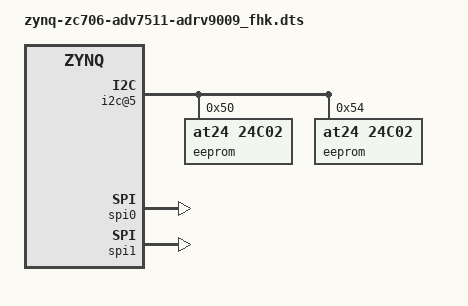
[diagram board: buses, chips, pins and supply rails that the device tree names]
/* 
Author	: Jacky.Wang <kenwj@sina.com>
NOTICE	:
   clocks : means "clocks_input" actually
   clock-names : the name is "aligned" with the corresponding driver
interrupts of zynq7k:
  PL to PS Interrupts:
    IRQF2P[ 7: 0] input, SPI: Numbers [68:61].
    IRQF2P[15: 8] input, SPI: Numbers [91:84].
    IRQF2P[19:16] input, PPI: nFIQ, nIRQ (both CPUs).
  PS to PL Interrupts:
    IRQP2F[27: 0] Output, I/O peripherals received and forwarded to the interrupt controller.

History	:
  base: branch "adrv9009_zc706", "arch\arm\boot\dts\zynq-zc706-adv7511-adrv9009.dts"
  change: clock-tree/interrupts per FHK-RFB (1*AD9528+2*AD9009)
  reference: https://ez.analog.com/wide-band-rf-transceivers/
    design-support-adrv9008-1-adrv9008-2-adrv9009/f/discussions/
    100583/adrv9009-custom-profile/300558
  change: Xilinx DPD integration, FHK DMA datapath verification
*/

/dts-v1/;

#if 0	/* Xilinx-ZC706 Board Design slight adjusted by FHK */
#include "zynq-zc706_fhk.dtsi"
#include "zynq-zc706-adv7511_fhk.dtsi"
#else	/* FHK-DFB New Board Design based on Xilinx-ZC706 */
#include "zynq-zc706_fhk_dfb.dtsi"
#include "zynq-zc706-adv7511_fhk_dfb.dtsi"
#endif
#include "zynq-zc706-xge_fhk.dtsi"
#include "zynq-zc706-dfe_fhk.dtsi"

#define AD9009N1_ENABLE 1
#define AD9009N2_ENABLE 1

&i2c_mux {
	i2c@5 { /* HPC IIC */
		#address-cells = <1>;
		#size-cells = <0>;
		reg = <5>;

		eeprom@50 {
			compatible = "at24,24c02";
			reg = <0x50>;
		};

		eeprom@54 {
			compatible = "at24,24c02";
			reg = <0x54>;
		};

		/*ad7291@2f {
			compatible = "adi,ad7291";
			reg = <0x2f>;
		};*/
	};
};

#if AD9009N1_ENABLE
&fpga_axi {
	/* 0 (AXI_DMAC_TYPE_AXI_MM): Memory mapped AXI interface
	   1 (AXI_DMAC_TYPE_AXI_STREAM): Streaming AXI interface
	   2 (AXI_DMAC_TYPE_AXI_FIFO): FIFO interface */
	iiorx_dma: iiorx-dmac@7c400000 {
		compatible = "adi,axi-dmac-1.00.a";
		reg = <0x7c400000 0x10000>;
		#dma-cells = <1>;
		interrupts = <0 57 0>; //UG585, Table 7-4: IRQF2P[13] -> IRQ[89-32]
		clocks = <&clkc 15>; // 15/fclk0=100MHz <- 17/fclk2=250MHz
		//clocks = <&clkc 15>, <&clkc 17>, <&misc_clk_0>;
		//clock-names = "s_axi_aclk", "m_dest_axi_aclk", "fifo_wr_clk";

		adi,channels {
			#size-cells = <0>;
			#address-cells = <1>;

			dma-channel@0 {
				reg = <0>;
				adi,source-bus-width = <64>;
				adi,source-bus-type = <2>;
				adi,destination-bus-width = <64>;
				adi,destination-bus-type = <0>;
			};
		};
	};

	iioro_dma: iioro-dmac@7c440000  {
		compatible = "adi,axi-dmac-1.00.a";
		reg = <0x7c440000  0x10000>;
		#dma-cells = <1>;
		interrupts = <0 55 0>; //UG585, Table 7-4: IRQF2P[11] -> IRQ[87-32]
		clocks = <&clkc 15>; // 15/fclk0=100MHz <- 17/fclk2=250MHz
		//clocks = <&clkc 15>, <&clkc 17>, <&misc_clk_0>;
		//clock-names = "s_axi_aclk", "m_dest_axi_aclk", "fifo_wr_clk";

		adi,channels {
			#size-cells = <0>;
			#address-cells = <1>;

			dma-channel@0 {
				reg = <0>;
				adi,source-bus-width = <128>;// TODO: master for 122profile: 128
				adi,source-bus-type = <2>;
				adi,destination-bus-width = <64>;
				adi,destination-bus-type = <0>;
			};
		};
	};

	iiotx_dma: iiotx-dmac@7c420000 {
		compatible = "adi,axi-dmac-1.00.a";
		reg = <0x7c420000 0x10000>;
		#dma-cells = <1>;
		interrupts = <0 56 0>; //UG585, Table 7-4: IRQF2P[12] -> IRQ[88-32]
		clocks = <&clkc 15>; // 15/fclk0=100MHz <- 17/fclk2=250MHz
		//clocks = <&clkc 15>, <&clkc 17>, <&clkc 17>;
		//clock-names = "s_axi_aclk", "m_src_axi_aclk", "m_axis_aclk";

		adi,channels {
			#size-cells = <0>;
			#address-cells = <1>;

			dma-channel@0 {
				reg = <0>;
				adi,source-bus-width = <128>;
				adi,source-bus-type = <0>;
				adi,destination-bus-width = <128>;
				adi,destination-bus-type = <2>;
				//adi,cyclic;
			};
		};
	};

	/* name for libiio-GUI(i.e. IIO-OSC) and libiio-apps(e.g.iio_stream.arm) */
	jesd204rx_layer3: jesd204rx-layer3@44a00000 {
		compatible = "adi,axi-adrv9009-rx-1.0";
		reg = <0x44a00000 0x8000>;
		dmas = <&iiorx_dma 0>;
		dma-names = "rx";
		spibus-connected = <&trx0_adrv9009>;
		//adi,axi-pl-fifo-enable;/* "iio-stream" fail/succeed when true/false */
	};
	jesd204ro_layer3: jesd204ro-layer3@44a08000 {
		compatible = "adi,axi-adrv9009-obs-1.0";
		reg = <0x44a08000 0x1000>;
		dmas = <&iioro_dma 0>;
		dma-names = "rx";
		clocks = <&trx0_adrv9009 1>;
		clock-names = "sampl_clk";
	};
	jesd204tx_layer3: jesd204tx-layer3@44a04000 {
		compatible = "adi,axi-adrv9009-tx-1.0";
		reg = <0x44a04000 0x4000>;
		dmas = <&iiotx_dma 0>;
		dma-names = "tx";
		clocks = <&trx0_adrv9009 2>;
		clock-names = "sampl_clk";
		spibus-connected = <&trx0_adrv9009>;
		//adi,axi-pl-fifo-enable;/* "iio-stream" fail/succeed when true/false */

		//adi,axi-dds-parity-enable; bool
		//adi,axi-dds-parity-type-odd; bool
		//adi,axi-dds-1-rf-channel; bool
		adi,axi-dds-default-scale = <0x1000>;/* 0.250 */
		adi,axi-dds-default-frequency = <40000000>;
		//adi,axi-interpolation-core-available; bool
		//slavecore-reg; <u32_array>
	};

	jesd204rx_layer2: axi-jesd204-rx@44aa0000 {
		compatible = "adi,axi-jesd204-rx-1.0";
		reg = <0x44aa0000 0x1000>;

		interrupts = <0 54 0>; //UG585, Table 7-4: IRQF2P[10] -> IRQ[86-32]

		clocks = <&clkc 15>, <&jesd204rx_clkgen>, <&jesd204rx_layer1 0>;
		clock-names = "s_axi_aclk", "device_clk", "lane_clk";

		#clock-cells = <0>;
		clock-output-names = "jesd_rx_lane_clk";

		//RX_PATH: *FPGA.JESD204B-DeframerA -> PHY.JESD204B-FramerA
		//Figure 34. JESD204B Framer Configuration (M = 4, L = 2, S = 1)
		//adi,bits-per-sample = <16>;//N'=16; PHY-Framer decide
		//adi,converters-per-device = <4>;//M=4; PHY-Framer decide
		//L(Number of Lanes)=2; PHY-Framer decide
		//S(Number of Samples)=1; PHY-Framer decide(1,2,4)
		adi,octets-per-frame = <4>;//F=N'/8*M*S/L =(16/8)*4*1/2=4
		adi,frames-per-multiframe = <32>;
	};

	jesd204tx_layer2: axi-jesd204-tx@44a90000 {
		compatible = "adi,axi-jesd204-tx-1.0";
		reg = <0x44a90000 0x1000>;

		interrupts = <0 53 0>; //UG585, Table 7-4: IRQF2P[9] -> IRQ[85-32]

		clocks = <&clkc 15>, <&jesd204tx_clkgen>, <&jesd204tx_layer1 0>;
		clock-names = "s_axi_aclk", "device_clk", "lane_clk";

		#clock-cells = <0>;
		clock-output-names = "jesd_tx_lane_clk";

		//TX_PATH: *FPGA.JESD204B-FramerA -> PHY.JESD204B-DeframerA
		//L(Number of Lanes)=4; PHY-Deframer decide
		//S(Number of Samples)=1; PHY-Deframer decide(1-only)
		//Figure 36. JESD204B Framer Configuration (M = 4, L = 4, S = 1)
		adi,octets-per-frame = <2>;//F=N'/8*M*S/L =(16/8)*4*1/4=2
		adi,frames-per-multiframe = <32>;
		adi,converter-resolution = <16>;// 20190314: different from 14/zynqmp-zcu102-rev10-adrv9009.dts
		adi,bits-per-sample = <16>;//N'=16; PHY-Deframer decide
		adi,converters-per-device = <4>;//M=4; PHY-Deframer decide
		adi,control-bits-per-sample = <0>;// 20190314: different from 2/zynqmp-zcu102-rev10-adrv9009.dts
	};

	jesd204ro_layer2: axi-jesd204-ro@44ab0000 {
		compatible = "adi,axi-jesd204-rx-1.0";
		reg = <0x44ab0000 0x1000>;

		interrupts = <0 52 0>; //UG585, Table 7-4: IRQF2P[8] -> IRQ[84-32]

		clocks = <&clkc 15>, <&jesd204ro_clkgen>, <&jesd204ro_layer1 0>;
		clock-names = "s_axi_aclk", "device_clk", "lane_clk";

		#clock-cells = <0>;
		clock-output-names = "jesd_rx_os_lane_clk";

		//RO_PATH: *FPGA.JESD204B-DeframerB -> PHY.JESD204B-FramerB
		//option1: HW keep ORx1&2 setting(Figure 27. JESD204B Framer Configuration (M = 4, L = 2, S = 1)) but SW enable ORx2-only
		//option2: HW change into (Figure 13. Framer Data Packing for (M = 2, L = 1, S = 1))
		//stitching mode must setting with (M = 2, L = 2, logically), (M = 4, L = 2 physically)
		//adi,bits-per-sample = <16>;//N'=16; PHY-Framer decide
		//adi,converters-per-device = <2>;//PHY-Framer decide; must be 2 logically if ORX_rfbandwidth>200MHz
		//L(Number of Lanes)=2; PHY-Framer decide
		//S(Number of Samples)=1; PHY-Framer decide(1,2,or4)
		//F=N'/8*M*S/L: case1/orx-stitching=(16/8)*2*1/2=2; case2/orx-2chn=(16/8)*4*1/2=4;
		adi,octets-per-frame = <4>;
		adi,frames-per-multiframe = <32>;
	};

	jesd204tx_clkgen: axi-clkgen-tx@43c00000  {
		compatible = "adi,axi-clkgen-2.00.a";
		reg = <0x43c00000 0x10000>;
		#clock-cells = <0>;
		clocks = <&clk0_ad9528 8>;
		clock-output-names = "axi_tx_clkgen";
	};

	jesd204rx_clkgen: axi-clkgen-rx@43c10000  {
		compatible = "adi,axi-clkgen-2.00.a";
		reg = <0x43c10000 0x10000>;
		#clock-cells = <0>;
		clocks = <&clk0_ad9528 8>;
		clock-output-names = "axi_rx_clkgen";
	};

	jesd204ro_clkgen: axi-clkgen-ro@43c20000  {
		compatible = "adi,axi-clkgen-2.00.a";
		reg = <0x43c20000 0x10000>;
		#clock-cells = <0>;
		clocks = <&clk0_ad9528 8>;
		clock-output-names = "axi_rx_os_clkgen";
	};

	jesd204rx_layer1: axi-adxcvr-rx@44a60000 {
		#address-cells = <1>;
		#size-cells = <0>;
		compatible = "adi,axi-adxcvr-1.0";
		reg = <0x44a60000 0x1000>;

		clocks = <&clk0_ad9528 8>, <&jesd204rx_clkgen 0>;
		clock-names = "conv", "div40";

		#clock-cells = <1>;
		clock-output-names = "rx_gt_clk", "rx_out_clk";

		adi,sys-clk-select = <3>;//0->3: 20190320: using the shared QPLL(by Tx/Rx/ORx)
		adi,out-clk-select = <3>;
		adi,use-lpm-enable;
		//adi,use-cpll-enable;//20190320: using the shared QPLL(by Tx/Rx/ORx)
	};

	jesd204ro_layer1: axi-adxcvr-ro@44a50000 {
		#address-cells = <1>;
		#size-cells = <0>;
		compatible = "adi,axi-adxcvr-1.0";
		reg = <0x44a50000 0x1000>;

		clocks = <&clk0_ad9528 8>, <&jesd204ro_clkgen>;
		clock-names = "conv", "div40";

		#clock-cells = <1>;
		clock-output-names = "rx_os_gt_clk", "rx_os_out_clk";

		adi,sys-clk-select = <3>;//0->3: 20190320: using the shared QPLL(by Tx/Rx/ORx)
		adi,out-clk-select = <3>;
		adi,use-lpm-enable;
		//adi,use-cpll-enable;//20190320: using the shared QPLL(by Tx/Rx/ORx)
	};

	jesd204tx_layer1: axi-adxcvr-tx@44a80000 {
		#address-cells = <1>;
		#size-cells = <0>;
		compatible = "adi,axi-adxcvr-1.0";
		reg = <0x44a80000 0x1000>;

		clocks = <&clk0_ad9528 8>, <&jesd204tx_clkgen>;
		clock-names = "conv", "div40";

		#clock-cells = <1>;
		clock-output-names = "tx_gt_clk", "tx_out_clk";

		adi,sys-clk-select = <3>;// using QPLL for Tx, QPLL+CPLL for Rx/ORx
		adi,out-clk-select = <3>;
	};
};
#endif

&spi0 {
	status = "okay";
};

#define fmc_spi spi0

#if AD9009N1_ENABLE
#if 1 /* 122.88M-SPS: using QPLL for Tx, QPLL+CPLL for Rx/ORx */
#include "adi-adrv9009_fhk122dc122.dtsi"
	&jesd204rx_layer1 {
		adi,sys-clk-select = <0>;
		adi,use-cpll-enable;
	};
	&jesd204ro_layer1 {
		adi,sys-clk-select = <0>;
		adi,use-cpll-enable;
	};
#endif
#if 0 /* 245.76M-SPS: using QPLL-only for Tx/Rx/ORx */
#include "adi-adrv9009_fhk245dc245.dtsi"
#endif
#if 0 /* 491.52M-SPS: using QPLL-only for Tx/Rx/ORx */
#include "adi-adrv9009_fhk491dc245.dtsi"
//#include "adi-adrv9009_fhk491dc122.dtsi"
	&jesd204ro_layer2 {
		adi,octets-per-frame = <2>;
	};
#endif
#endif
#if AD9009N1_ENABLE
// adrv9009_dac_fifo_bypass_s 60
// ad9528_reset_b,       // 59
// ad9528_sysref_req,    // 58
// adrv9009_tx1_enable,    // 57
// adrv9009_tx2_enable,    // 56
// adrv9009_rx1_enable,    // 55
// adrv9009_rx2_enable,    // 54
// adrv9009_test,          // 53
// adrv9009_reset_b,       // 52
// adrv9009_gpint,         // 51
// adrv9009_gpio_00,       // 50
// adrv9009_gpio_01,       // 49
// adrv9009_gpio_02,       // 48
// adrv9009_gpio_03,       // 47
// adrv9009_gpio_04,       // 46
// adrv9009_gpio_05,       // 45
// adrv9009_gpio_06,       // 44
// adrv9009_gpio_07,       // 43
// adrv9009_gpio_15,       // 42
// adrv9009_gpio_08,       // 41
// adrv9009_gpio_09,       // 40
// adrv9009_gpio_10,       // 39
// adrv9009_gpio_11,       // 38
// adrv9009_gpio_12,       // 37
// adrv9009_gpio_14,       // 36
// adrv9009_gpio_13,       // 35
// adrv9009_gpio_17,       // 34
// adrv9009_gpio_16,       // 33
// adrv9009_gpio_18}));    // 32 + 54

&trx0_adrv9009 {
	reset-gpios = <&gpio0 106 0>;
	test-gpios = <&gpio0 107 0>;
	sysref-req-gpios = <&gpio0 112 0>;
	/* FHK design: PL.RFESS.TDDC -> IO-signals -> RFIC & RFFC
	rx2-enable-gpios = <&gpio0 108 0>;
	rx1-enable-gpios = <&gpio0 109 0>;
	tx2-enable-gpios = <&gpio0 110 0>;
	tx1-enable-gpios = <&gpio0 111 0>;*/
};
#endif

&clk0_ad9528 {
	reset-gpios = <&gpio0 113 0>;
};
#if AD9009N1_ENABLE
&jesd204tx_layer3 {
	plddrbypass-gpios = <&gpio0 114 0>;
};
#endif

#if AD9009N2_ENABLE
#include "zynq-zc706-adrv9009n2_fhk.dtsi"
#endif

&spi1 {
	status = "okay";

	/*clksync_ad9544: clksync-ad9544@0 {
		compatible = "adi,ad9544";
		reg = <0>;

		#address-cells = <1>;
		#size-cells = <0>;

		spi-max-frequency = <1000000>;
		//adi,spi-3wire-enable;

		clock-output-names = ;
		#clock-cells = <1>;
	};*/
};

